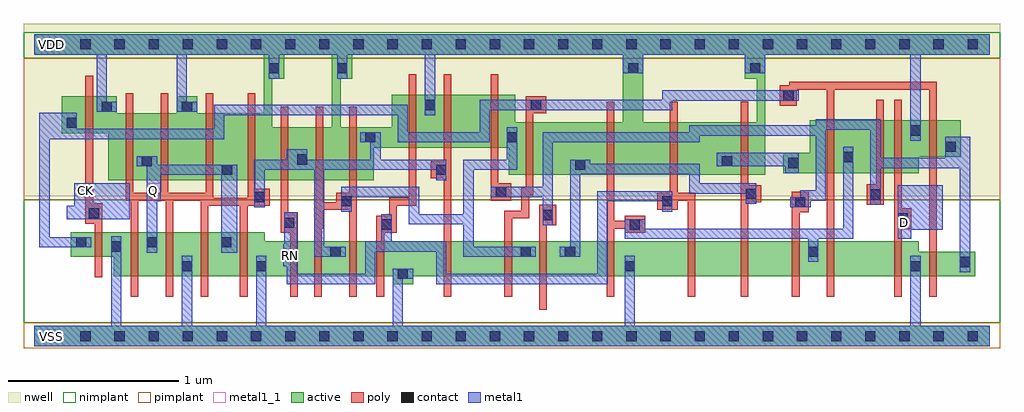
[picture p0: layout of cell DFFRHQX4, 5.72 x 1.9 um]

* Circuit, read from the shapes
.subckt DFFRHQX4 CK D Q RN VDD VSS
M1 VSS CK n1 VSS nfet w=0.145u l=0.045u
M2 Q n2 VSS VSS nfet w=0.26u l=0.045u m=4
M3 n3 RN VSS VSS nfet w=0.205u l=0.045u
M4 n2 n4 n3 VSS nfet w=0.205u l=0.045u
M5 n5 n4 n2 VSS nfet w=0.205u l=0.045u
M6 VSS RN n5 VSS nfet w=0.205u l=0.045u
M7 n6 n2 VSS VSS nfet w=0.205u l=0.045u
M8 n4 n1 n6 VSS nfet w=0.205u l=0.045u
M9 n7 n8 n4 VSS nfet w=0.205u l=0.045u
M10 VSS n9 n7 VSS nfet w=0.205u l=0.045u
M11 n10 RN VSS VSS nfet w=0.205u l=0.045u
M12 n11 n7 n10 VSS nfet w=0.205u l=0.045u
M13 n9 n8 n11 VSS nfet w=0.205u l=0.045u
M14 n12 n1 n9 VSS nfet w=0.205u l=0.045u
M15 VSS D n12 VSS nfet w=0.205u l=0.045u
M16 n8 n1 VSS VSS nfet w=0.145u l=0.045u
M17 VDD CK n1 VDD pfet w=0.215u l=0.045u
M18 Q n2 VDD VDD pfet w=0.39u l=0.045u m=4
M19 n2 RN VDD VDD pfet w=0.31u l=0.045u m=2
M20 VDD n4 n2 VDD pfet w=0.31u l=0.045u m=2
M21 n13 n2 VDD VDD pfet w=0.31u l=0.045u
M22 n4 n8 n13 VDD pfet w=0.31u l=0.045u
M23 n7 n1 n4 VDD pfet w=0.31u l=0.045u
M24 VDD n9 n7 VDD pfet w=0.31u l=0.045u
M25 n14 RN VDD VDD pfet w=0.31u l=0.045u
M26 VDD n7 n14 VDD pfet w=0.31u l=0.045u
M27 n9 n1 n14 VDD pfet w=0.31u l=0.045u
M28 n15 n8 n9 VDD pfet w=0.31u l=0.045u
M29 VDD D n15 VDD pfet w=0.31u l=0.045u
M30 n8 n1 VDD VDD pfet w=0.215u l=0.045u
.ends

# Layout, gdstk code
import gdstk
lib = gdstk.Library(unit=1e-6, precision=5e-10)
def R(c, l, rs):  # rectangles x0, y0, x1, y1
    for r in rs: c.add(gdstk.rectangle(r[:2], r[2:], *l))
def A(c, l, x, y, w, h, nx, ny, dx, dy):  # array of equal rectangles
    R(c, l, [(x+i*dx, y+j*dy, x+i*dx+w, y+j*dy+h) for i in range(nx) for j in range(ny)])
def P(c, l, *ps):  # polygons
    for p in ps: c.add(gdstk.Polygon(p, *l))
active = (1, 0)
nwell = (2, 0)
poly = (3, 0)
nimplant = (4, 0)
pimplant = (5, 0)
contact = (6, 0)
metal1 = (7, 0)
metal1_1 = (7, 1)

dffrhqx4 = lib.new_cell('DFFRHQX4')
R(dffrhqx4, active, [(0,-0.06,5.6,0.06)])
P(dffrhqx4, active, [(0,1.77),(5.6,1.77),(5.6,1.65),(4.285,1.65),(4.285,0.945),(2.78,0.945),(2.78,1.105),(1.99,1.105),(1.99,0.915),(0.435,0.915),(0.435,1.19),(0.16,1.19),(0.16,1.405),(0.485,1.405),(0.485,1.305),(0.835,1.305),(0.835,1.405),(0.955,1.405),(0.955,1.305),(1.345,1.305),(1.345,1.65),(1.465,1.65),(1.465,1.51),(1.395,1.51),(1.395,1.225),(1.745,1.225),(1.745,1.65),(1.865,1.65),(1.865,1.51),(1.795,1.51),(1.795,1.225),(2.095,1.225),(2.095,1.415),(2.82,1.415),(2.82,1.255),(3.45,1.255),(3.45,1.65),(3.57,1.65),(3.57,1.255),(4.235,1.255),(4.235,1.51),(4.165,1.51),(4.165,1.65),(0,1.65)],
  [(4.545,1.265),(5.43,1.265),(5.43,1.05),(5.185,1.05),(5.185,0.955),(4.39,0.955),(4.39,1.075),(4.545,1.075)],
  [(0.215,0.61),(1.35,0.61),(1.35,0.555),(5.185,0.555),(5.185,0.495),(5.515,0.495),(5.515,0.35),(2.22,0.35),(2.22,0.305),(2.1,0.305),(2.1,0.35),(0.465,0.35),(0.465,0.465),(0.215,0.465)])
R(dffrhqx4, nwell, [(-0.06,0.82,5.66,1.83)])
P(dffrhqx4, poly, [(0.3,1.525),(0.345,1.525),(0.345,0.78),(0.4,0.78),(0.4,0.345),(0.355,0.345),(0.355,0.66),(0.3,0.66)],
  [(0.535,1.425),(0.58,1.425),(0.58,0.84),(0.74,0.84),(0.74,1.425),(0.785,1.425),(0.785,0.84),(1.005,0.84),(1.005,1.425),(1.05,1.425),(1.05,0.81),(1.25,0.81),(1.25,1.425),(1.295,1.425),(1.295,0.865),(1.38,0.865),(1.38,0.765),(1.25,0.765),(1.25,0.23),(1.205,0.23),(1.205,0.765),(1.02,0.765),(1.02,0.23),(0.975,0.23),(0.975,0.795),(0.815,0.795),(0.815,0.23),(0.77,0.23),(0.77,0.795),(0.61,0.795),(0.61,0.23),(0.565,0.23),(0.565,0.795),(0.535,0.795)],
  [(1.445,1.345),(1.49,1.345),(1.49,0.725),(1.545,0.725),(1.545,0.23),(1.5,0.23),(1.5,0.605),(1.445,0.605)],
  [(1.65,1.345),(1.695,1.345),(1.695,0.785),(1.77,0.785),(1.77,0.84),(1.845,0.84),(1.845,1.345),(1.89,1.345),(1.89,0.23),(1.845,0.23),(1.845,0.74),(1.695,0.74),(1.695,0.63),(1.685,0.63),(1.685,0.23),(1.64,0.23),(1.64,0.675),(1.65,0.675)],
  [(2.195,1.535),(2.24,1.535),(2.24,0.765),(2.125,0.765),(2.125,0.605),(2.05,0.605),(2.05,0.23),(2.005,0.23),(2.005,0.705),(2.08,0.705),(2.08,0.81),(2.195,0.81)],
  [(2.4,1.535),(2.445,1.535),(2.445,0.23),(2.4,0.23),(2.4,0.925),(2.325,0.925),(2.325,1.025),(2.4,1.025)],
  [(2.675,1.535),(2.72,1.535),(2.72,0.895),(2.795,0.895),(2.795,0.795),(2.675,0.795)],
  [(2.88,1.405),(3,1.405),(3,1.305),(2.925,1.305),(2.925,0.825),(2.9,0.825),(2.9,0.69),(2.8,0.69),(2.8,0.23),(2.755,0.23),(2.755,0.735),(2.855,0.735),(2.855,0.87),(2.88,0.87)],
  [(3.355,1.375),(3.4,1.375),(3.4,0.675),(3.46,0.675),(3.46,0.705),(3.58,0.705),(3.58,0.605),(3.46,0.605),(3.46,0.63),(3.4,0.63),(3.4,0.23),(3.355,0.23)],
  [(4.425,1.49),(5.29,1.49),(5.29,0.23),(5.245,0.23),(5.245,1.445),(4.69,1.445),(4.69,0.23),(4.645,0.23),(4.645,1.445),(4.47,1.445),(4.47,1.35),(4.37,1.35),(4.37,1.47),(4.425,1.47)],
  [(3.725,1.375),(3.77,1.375),(3.77,0.84),(3.875,0.84),(3.875,0.23),(3.83,0.23),(3.83,0.795),(3.77,0.795),(3.77,0.74),(3.65,0.74),(3.65,0.84),(3.725,0.84)],
  [(4.14,1.375),(4.185,1.375),(4.185,0.885),(4.26,0.885),(4.26,0.785),(4.185,0.785),(4.185,0.23),(4.14,0.23)],
  [(4.935,1.385),(4.98,1.385),(4.98,0.77),(4.88,0.77),(4.88,0.89),(4.935,0.89)],
  [(5.04,1.385),(5.085,1.385),(5.085,0.75),(5.14,0.75),(5.14,0.63),(5.085,0.63),(5.085,0.23),(5.04,0.23)],
  [(4.44,0.845),(4.54,0.845),(4.54,0.725),(4.485,0.725),(4.485,0.23),(4.44,0.23)],
  [(2.96,0.77),(3.06,0.77),(3.06,0.65),(3.005,0.65),(3.005,0.155),(2.96,0.155)])
R(dffrhqx4, nimplant, [(-0.06,0.08,5.66,0.8), (-0.06,1.63,5.66,1.78)])
R(dffrhqx4, pimplant, [(-0.06,-0.07,5.66,0.08), (-0.06,0.8,5.66,1.63)])
A(dffrhqx4, contact, 0.07, -0.03, 0.06, 0.06, 28, 2, 0.2, 1.71)
R(dffrhqx4, contact, [(2.13,0.335,2.19,0.395), (0.865,0.38,0.925,0.44), (1.3,0.38,1.36,0.44), (3.46,0.38,3.52,0.44), (5.135,0.38,5.195,0.44), (5.425,0.405,5.485,0.465), (1.735,0.465,1.795,0.525), (2.85,0.465,2.91,0.525), (3.11,0.465,3.17,0.525), (4.535,0.465,4.595,0.525), (0.45,0.495,0.51,0.555), (0.245,0.52,0.305,0.58), (0.66,0.52,0.72,0.58), (1.095,0.52,1.155,0.58), (2.035,0.625,2.095,0.685), (3.49,0.625,3.55,0.685), (1.465,0.635,1.525,0.695), (5.06,0.66,5.12,0.72), (2.98,0.68,3.04,0.74), (0.32,0.69,0.38,0.75), (4.46,0.755,4.52,0.815), (1.8,0.76,1.86,0.82), (3.68,0.76,3.74,0.82), (1.29,0.785,1.35,0.845), (4.9,0.8,4.96,0.86), (4.17,0.805,4.23,0.865), (2.705,0.815,2.765,0.875), (1.1,0.945,1.16,1.005), (2.355,0.945,2.415,1.005), (3.17,0.975,3.23,1.035), (4.42,0.985,4.48,1.045), (0.63,0.995,0.69,1.055), (4.03,0.995,4.09,1.055), (1.54,1.005,1.6,1.065), (4.74,1.02,4.8,1.08), (5.34,1.08,5.4,1.14), (1.94,1.135,2,1.195), (2.77,1.135,2.83,1.195), (5.135,1.175,5.195,1.235), (0.19,1.22,0.25,1.28), (0.395,1.315,0.455,1.375), (0.865,1.315,0.925,1.375), (2.29,1.325,2.35,1.385), (2.91,1.325,2.97,1.385), (4.39,1.38,4.45,1.44), (1.375,1.54,1.435,1.6), (1.775,1.54,1.835,1.6), (3.48,1.54,3.54,1.6), (4.195,1.54,4.255,1.6)])
P(dffrhqx4, metal1, [(0,1.77),(5.6,1.77),(5.6,1.65),(5.195,1.65),(5.195,1.145),(5.135,1.145),(5.135,1.65),(4.285,1.65),(4.285,1.54),(4.165,1.54),(4.165,1.65),(3.57,1.65),(3.57,1.54),(3.45,1.54),(3.45,1.65),(2.35,1.65),(2.35,1.295),(2.29,1.295),(2.29,1.65),(1.835,1.65),(1.835,1.51),(1.775,1.51),(1.775,1.65),(1.435,1.65),(1.435,1.51),(1.375,1.51),(1.375,1.65),(0.895,1.65),(0.895,1.375),(0.955,1.375),(0.955,1.315),(0.835,1.315),(0.835,1.65),(0.425,1.65),(0.425,1.375),(0.485,1.375),(0.485,1.315),(0.365,1.315),(0.365,1.65),(0,1.65)],
  [(3.68,1.44),(4.48,1.44),(4.48,1.38),(3.74,1.38),(3.74,1.325),(2.67,1.325),(2.67,1.135),(2.13,1.135),(2.13,1.295),(1.115,1.295),(1.115,1.155),(0.09,1.155),(0.09,0.58),(0.335,0.58),(0.335,0.52),(0.03,0.52),(0.03,1.31),(0.25,1.31),(0.25,1.215),(1.055,1.215),(1.055,1.355),(2.19,1.355),(2.19,1.195),(2.61,1.195),(2.61,1.385),(3.68,1.385)],
  [(1.91,1.195),(2.03,1.195),(2.03,1.035),(2.415,1.035),(2.415,0.915),(2.355,0.915),(2.355,0.975),(1.7,0.975),(1.7,0.525),(1.825,0.525),(1.825,0.465),(1.64,0.465),(1.64,0.975),(1.35,0.975),(1.35,0.755),(1.29,0.755),(1.29,1.035),(1.48,1.035),(1.48,1.095),(1.6,1.095),(1.6,1.035),(1.97,1.035),(1.97,1.135),(1.91,1.135)],
  [(0.6,1.055),(0.72,1.055),(0.72,1.005),(1.19,1.005),(1.19,0.49),(1.095,0.49),(1.095,0.945),(0.74,0.945),(0.74,0.79),(0.72,0.79),(0.72,0.49),(0.66,0.49),(0.66,0.995),(0.6,0.995)],
  [(4.58,1.27),(4.96,1.27),(4.96,1.045),(5.34,1.045),(5.34,1.17),(5.485,1.17),(5.485,0.375),(5.425,0.375),(5.425,0.985),(4.96,0.985),(4.96,0.77),(4.9,0.77),(4.9,1.21),(4.64,1.21),(4.64,0.795),(4.55,0.795),(4.55,0.755),(4.43,0.755),(4.43,0.815),(4.49,0.815),(4.49,0.855),(4.58,0.855),(4.58,1.175),(3.9,1.175),(3.9,1.135),(3.04,1.135),(3.04,0.65),(2.98,0.65),(2.98,0.815),(2.675,0.815),(2.675,0.875),(2.98,0.875),(2.98,1.195),(3.84,1.195),(3.84,1.235),(4.58,1.235)],
  [(2.77,1.225),(2.83,1.225),(2.83,0.975),(2.575,0.975),(2.575,0.525),(2.94,0.525),(2.94,0.465),(2.515,0.465),(2.515,0.655),(2.195,0.655),(2.195,0.815),(1.86,0.815),(1.86,0.73),(1.8,0.73),(1.8,0.875),(2.255,0.875),(2.255,0.715),(2.515,0.715),(2.515,1.035),(2.77,1.035)],
  [(0.235,0.895),(0.56,0.895),(0.56,0.685),(0.19,0.685),(0.19,0.765),(0.235,0.765)],
  [(0.45,0.585),(0.51,0.585),(0.51,0.06),(0.865,0.06),(0.865,0.47),(0.925,0.47),(0.925,0.06),(1.3,0.06),(1.3,0.47),(1.36,0.47),(1.36,0.06),(2.1,0.06),(2.1,0.395),(2.22,0.395),(2.22,0.335),(2.16,0.335),(2.16,0.06),(3.46,0.06),(3.46,0.47),(3.52,0.47),(3.52,0.06),(5.135,0.06),(5.135,0.47),(5.195,0.47),(5.195,0.06),(5.6,0.06),(5.6,-0.06),(0,-0.06),(0,0.06),(0.45,0.06)],
  [(3.3,0.85),(3.74,0.85),(3.74,0.73),(3.68,0.73),(3.68,0.79),(3.36,0.79),(3.36,0.305),(2.355,0.305),(2.355,0.495),(2,0.495),(2,0.305),(1.48,0.305),(1.48,0.41),(1.46,0.41),(1.46,0.54),(1.465,0.54),(1.465,0.725),(1.54,0.725),(1.54,0.365),(1.94,0.365),(1.94,0.555),(2.035,0.555),(2.035,0.715),(2.095,0.715),(2.095,0.555),(2.415,0.555),(2.415,0.365),(3.3,0.365)],
  [(4,1.075),(4.48,1.075),(4.48,0.955),(4.4,0.955),(4.4,0.995),(4,0.995)],
  [(3.14,1.035),(3.26,1.035),(3.26,1.01),(3.9,1.01),(3.9,0.895),(4.23,0.895),(4.23,0.775),(4.17,0.775),(4.17,0.835),(3.84,0.835),(3.84,0.95),(3.2,0.95),(3.2,0.465),(3.08,0.465),(3.08,0.525),(3.14,0.525)],
  [(3.46,0.685),(3.58,0.685),(3.58,0.63),(4.74,0.63),(4.74,1.11),(4.8,1.11),(4.8,0.57),(4.595,0.57),(4.595,0.435),(4.535,0.435),(4.535,0.57),(3.46,0.57)],
  [(5.06,0.885),(5.325,0.885),(5.325,0.625),(5.14,0.625),(5.14,0.57),(5.06,0.57)])
R(dffrhqx4, metal1_1, [(0.06,-0.04,0.14,0.04), (1.46,0.435,1.54,0.515), (5.06,0.625,5.14,0.705), (0.26,0.815,0.34,0.895), (0.66,0.815,0.74,0.895), (0.06,1.67,0.14,1.75)])
dffrhqx4.add(gdstk.Label('RN', (1.5,0.475), layer=7, texttype=1))
dffrhqx4.add(gdstk.Label('CK', (0.3,0.855), layer=7, texttype=1))
dffrhqx4.add(gdstk.Label('D', (5.1,0.665), layer=7, texttype=1))
dffrhqx4.add(gdstk.Label('Q', (0.7,0.855), layer=7, texttype=1))
dffrhqx4.add(gdstk.Label('VDD', (0.1,1.71), layer=7, texttype=1))
dffrhqx4.add(gdstk.Label('VSS', (0.1,0), layer=7, texttype=1))
dffrhqx4.add(gdstk.Label('DFFRHQX4', (0,0), layer=63, texttype=0))

lib.write_gds('DFFRHQX4.gds')
